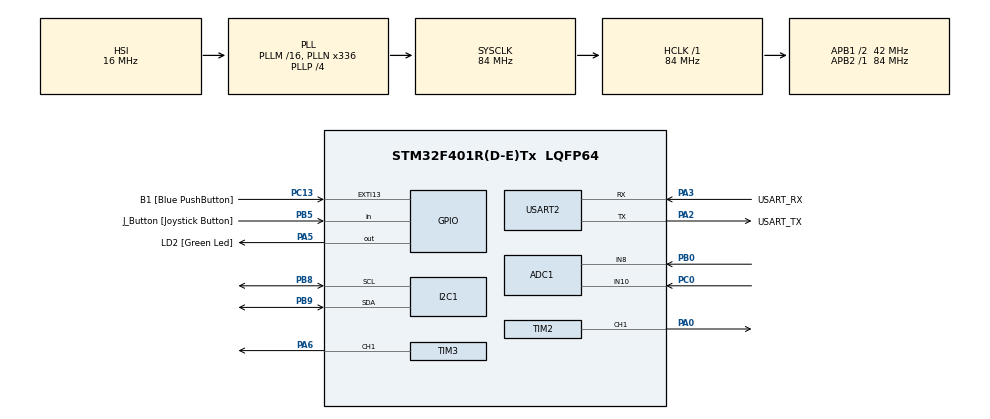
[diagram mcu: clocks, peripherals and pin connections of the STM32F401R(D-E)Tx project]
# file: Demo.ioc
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ADC1.Channel-0\#ChannelRegularConversion=ADC_CHANNEL_8
ADC1.Channel-1\#ChannelRegularConversion=ADC_CHANNEL_10
ADC1.ContinuousConvMode=ENABLE
ADC1.DMAContinuousRequests=ENABLE
ADC1.NbrOfConversion=2
ADC1.NbrOfConversionFlag=1
ADC1.Rank-0\#ChannelRegularConversion=1
ADC1.Rank-1\#ChannelRegularConversion=2
ADC1.SamplingTime-0\#ChannelRegularConversion=ADC_SAMPLETIME_84CYCLES
ADC1.SamplingTime-1\#ChannelRegularConversion=ADC_SAMPLETIME_84CYCLES
ADC1.master=1
Dma.ADC1.0.Direction=DMA_PERIPH_TO_MEMORY
Dma.ADC1.0.FIFOMode=DMA_FIFOMODE_DISABLE
Dma.ADC1.0.Instance=DMA2_Stream0
Dma.ADC1.0.MemDataAlignment=DMA_MDATAALIGN_WORD
Dma.ADC1.0.MemInc=DMA_MINC_ENABLE
Dma.ADC1.0.Mode=DMA_CIRCULAR
Dma.ADC1.0.PeriphDataAlignment=DMA_PDATAALIGN_WORD
Dma.ADC1.0.PeriphInc=DMA_PINC_DISABLE
Dma.ADC1.0.Priority=DMA_PRIORITY_LOW
Dma.Request0=ADC1
Mcu.Family=STM32F4
Mcu.Name=STM32F401R(D-E)Tx
Mcu.Package=LQFP64
NVIC.DMA2_Stream0_IRQn=true\:0\:0\:false\:false\:true\:false\:true\:true
NVIC.PriorityGroup=NVIC_PRIORITYGROUP_0
PA0-WKUP.Signal=S_TIM2_CH1_ETR
PA13.GPIO_Label=TMS
PA13.Mode=Serial_Wire
PA13.Signal=SYS_JTMS-SWDIO
PA14.GPIO_Label=TCK
PA14.Mode=Serial_Wire
PA14.Signal=SYS_JTCK-SWCLK
PA2.GPIO_Label=USART_TX
PA2.GPIO_Mode=GPIO_MODE_AF_PP
PA2.GPIO_PuPd=GPIO_NOPULL
PA2.GPIO_Speed=GPIO_SPEED_FREQ_LOW
PA2.Mode=Asynchronous
PA2.Signal=USART2_TX
PA3.GPIO_Label=USART_RX
PA3.GPIO_Mode=GPIO_MODE_AF_PP
PA3.GPIO_PuPd=GPIO_NOPULL
PA3.GPIO_Speed=GPIO_SPEED_FREQ_LOW
PA3.Mode=Asynchronous
PA3.Signal=USART2_RX
PA5.GPIO_Label=LD2 [Green Led]
PA5.GPIO_Mode=GPIO_MODE_OUTPUT_PP
PA5.GPIO_PuPd=GPIO_NOPULL
PA5.GPIO_Speed=GPIO_SPEED_FREQ_LOW
PA5.Signal=GPIO_Output
PA6.Signal=S_TIM3_CH1
PB0.Signal=ADCx_IN8
PB3.GPIO_Label=SWO
PB3.Signal=SYS_JTDO-SWO
PB5.GPIO_Label=J_Button [Joystick Button]
PB5.Signal=GPIO_Input
PB8.Mode=I2C
PB8.Signal=I2C1_SCL
PB9.Mode=I2C
PB9.Signal=I2C1_SDA
PC0.Signal=ADCx_IN10
PC13-ANTI_TAMP.GPIO_Label=B1 [Blue PushButton]
PC13-ANTI_TAMP.GPIO_ModeDefaultEXTI=GPIO_MODE_IT_FALLING
PC13-ANTI_TAMP.GPIO_PuPd=GPIO_NOPULL
PC13-ANTI_TAMP.Signal=GPXTI13
PC14-OSC32_IN.Mode=LSE-External-Oscillator
PC14-OSC32_IN.Signal=RCC_OSC32_IN
PC15-OSC32_OUT.Mode=LSE-External-Oscillator
PC15-OSC32_OUT.Signal=RCC_OSC32_OUT
PH0\ -\ OSC_IN.Mode=HSE-External-Clock-Source
PH0\ -\ OSC_IN.Signal=RCC_OSC_IN
PH1\ -\ OSC_OUT.Mode=HSE-External-Clock-Source
PH1\ -\ OSC_OUT.Signal=RCC_OSC_OUT
ProjectManager.HeapSize=0x200
ProjectManager.StackSize=0x400
ProjectManager.TargetToolchain=STM32CubeIDE
RCC.48MHZClocksFreq_Value=48000000
RCC.AHBFreq_Value=84000000
RCC.APB1CLKDivider=RCC_HCLK_DIV2
RCC.APB1Freq_Value=42000000
RCC.APB1TimFreq_Value=84000000
RCC.APB2Freq_Value=84000000
RCC.APB2TimFreq_Value=84000000
RCC.CortexFreq_Value=84000000
RCC.HCLKFreq_Value=84000000
RCC.HSE_VALUE=8000000
RCC.HSI_VALUE=16000000
RCC.PLLN=336
RCC.PLLP=RCC_PLLP_DIV4
RCC.PLLQ=7
RCC.SYSCLKFreq_VALUE=84000000
RCC.SYSCLKSource=RCC_SYSCLKSOURCE_PLLCLK
RCC.VCOOutputFreq_Value=336000000
SH.ADCx_IN10.0=ADC1_IN10,IN10
SH.ADCx_IN8.0=ADC1_IN8,IN8
SH.S_TIM2_CH1_ETR.0=TIM2_CH1,PWM Generation1 CH1
SH.S_TIM3_CH1.0=TIM3_CH1,PWM Generation1 CH1
TIM2.Channel-PWM\ Generation1\ CH1=TIM_CHANNEL_1
TIM2.Period=52500-1
TIM2.Prescaler=16-1
TIM3.Channel-PWM\ Generation1\ CH1=TIM_CHANNEL_1
TIM3.Period=13125-1
TIM3.Prescaler=16-1
USART2.VirtualMode=VM_ASYNC
VP_TIM2_VS_ClockSourceINT.Mode=Internal
VP_TIM3_VS_ClockSourceINT.Mode=Internal
board=NUCLEO-F401RE

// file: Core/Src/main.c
/* USER CODE BEGIN Header */
/**
  ******************************************************************************
  * @file           : main.c
  * @brief          : Main program body
  ******************************************************************************
  * @attention
  *
  * Copyright (c) 2023 STMicroelectronics.
  * All rights reserved.
  *
  * This software is licensed under terms that can be found in the LICENSE file
  * in the root directory of this software component.
  * If no LICENSE file comes with this software, it is provided AS-IS.
  *
  ******************************************************************************
  */
/* USER CODE END Header */
#include "main.h"

/* USER CODE BEGIN Includes */

#include "i2c-lcd.h"

/* USER CODE END Includes */

ADC_HandleTypeDef hadc1;
DMA_HandleTypeDef hdma_adc1;

I2C_HandleTypeDef hi2c1;

TIM_HandleTypeDef htim2;
TIM_HandleTypeDef htim3;

UART_HandleTypeDef huart2;

void SystemClock_Config(void);
static void MX_GPIO_Init(void);
static void MX_DMA_Init(void);
static void MX_USART2_UART_Init(void);
static void MX_ADC1_Init(void);
static void MX_TIM2_Init(void);
static void MX_TIM3_Init(void);
static void MX_I2C1_Init(void);

/* USER CODE BEGIN 0 */
int STANDARD_POS = 2625;  // 5*525    = 5%    duty cycle (0 position)
int HALF_POS = 7088;  // 13.5*525 = 13.5% duty cycle (middle position)
int FULL_POS = 11550;    // 22*525   = 22%   duty cycle (max position)

uint32_t JOYSTICK[2];

enum state {
	WAITING,
	DISPENSING,
	REFILLING
};
/* USER CODE END 0 */

int main(void)
{

  /* MCU Configuration--------------------------------------------------------*/

  /* Reset of all peripherals, Initializes the Flash interface and the Systick. */
  HAL_Init();

  /* Configure the system clock */
  SystemClock_Config();

  /* Initialize all configured peripherals */
  MX_GPIO_Init();
  MX_DMA_Init();
  MX_USART2_UART_Init();
  MX_ADC1_Init();
  MX_TIM2_Init();
  MX_TIM3_Init();
  MX_I2C1_Init();
  /* USER CODE BEGIN 2 */

  // Init timers
  HAL_TIM_PWM_Start(&htim2, TIM_CHANNEL_1);  // This is at 100Hz with 52500 counts
  HAL_TIM_PWM_Start(&htim3, TIM_CHANNEL_1);  // This is at 400Hz with 13125 counts

  // Set duty cycles
  __HAL_TIM_SET_COMPARE(&htim2, TIM_CHANNEL_1, STANDARD_POS);
  __HAL_TIM_SET_COMPARE(&htim3, TIM_CHANNEL_1, 0);  // Square wave of 400hz means it's on half the time (6563) and off half the time. Starts off.

  // Init joystick (DMA)
  HAL_ADC_Start_DMA(&hadc1, JOYSTICK, 2);  // Start the multi-channel AC to DC reader

  // Init LCD
  lcd_init();

//  lcd_set_cursor(0, 0);
//  lcd_send_string("Hello World!");
//  int HEART = 0;
//  char heart_char[] = {0x00, 0x00, 0x0A, 0x3F, 0x3F, 0x0E, 0x04, 0x00};
//  lcd_set_custom_char(heart_char, HEART);
//  lcd_set_cursor(0, 13);
//  lcd_send_data(HEART);
//  lcd_send_data(HEART);
//  lcd_send_data(HEART);

  // Init software info
  enum state current_state = WAITING;
//  enum state prev_state = WAITING;
  int no_pills_change = 1;
  int input_pills = 0;
  int time_change = 0;
  int first_dispense = 0;

  uint32_t num_pills = 0;
  uint32_t dispense_freq = 15;
  uint32_t last_dispense = 0;
  uint32_t prev_time_left = dispense_freq - (HAL_GetTick() - last_dispense)/1000;
  char med_info1[] = "Med description";
  char med_info2[] = "Freq: every 15 s";

  /* USER CODE END 2 */

  /* Infinite loop */
  /* USER CODE BEGIN WHILE */
  while (1)
  {
	/*
	 * THE PLAN!
	 * State 1: Waiting (nothing) [use timer -> state 2, or jup/button -> state 3]
	 * State 2: Dispensing (alarm goes off, dispenses pills, displays ) [waits for jup/button to end the alarm -> state 1]
	 * State 3: Adding medication (jleft = -1, jright = +1, jup/button = confirm, jdown = cancel) [-> state 1]
	*/

	if(current_state == WAITING) {
		int time_left = dispense_freq - (HAL_GetTick() - last_dispense)/1000;
		if(time_left != prev_time_left) time_change = 1;

		if(JOYSTICK[1] < 100) {
			no_pills_change = 1;
			current_state = REFILLING;
		}
		else if(num_pills == 0) {
			if(no_pills_change) {
				lcd_clear();
				lcd_set_cursor(0, 0);
				lcd_send_string("Please refill the");
				lcd_set_cursor(1, 0);
				lcd_send_string("machine.");
				lcd_set_cursor(3, 0);
				lcd_send_string("(joystick up)");
				no_pills_change = 0;
			}
		}
		else if(time_left <= 0) {
			first_dispense = 1;
			last_dispense = HAL_GetTick();
			lcd_clear();
			lcd_set_cursor(0, 0);
			lcd_send_string(med_info1);
			lcd_set_cursor(1, 0);
			lcd_send_string(med_info2);
			lcd_set_cursor(2, 0);
			lcd_send_string("(joystick down to");
			lcd_set_cursor(3, 0);
			lcd_send_string("stop alarm)");
			current_state = DISPENSING;
		}
		else {
			if(time_change) {
				lcd_clear();
				lcd_set_cursor(1, 0);
				char string[] = "xxxxxxxxxs remaining";
				string[8] = time_left%10 + 48;
				string[7] = (time_left/10)%10 + 48;
				string[6] = (time_left/100)%10 + 48;
				string[5] = (time_left/1000)%10 + 48;
				string[4] = (time_left/10000)%10 + 48;
				string[3] = (time_left/100000)%10 + 48;
				string[2] = (time_left/1000000)%10 + 48;
				string[1] = (time_left/10000000)%10 + 48;
				string[0] = (time_left/100000000)%10 + 48;
				lcd_send_string(string);
			}
		}
		prev_time_left = time_left;
		HAL_Delay(100);
	}

	else if(current_state == DISPENSING) {
		if(first_dispense) {
			// Motor
			__HAL_TIM_SET_COMPARE(&htim2, TIM_CHANNEL_1, FULL_POS);

			// Alarm
			__HAL_TIM_SET_COMPARE(&htim3, TIM_CHANNEL_1, 6563);

			// Delay to give it time to process the pill dispense
			HAL_Delay(1000);

			__HAL_TIM_SET_COMPARE(&htim2, TIM_CHANNEL_1, STANDARD_POS);
			HAL_Delay(1000);
			num_pills--;
			first_dispense = 0;
		}

		// Joystick off (joystick down)
		if(JOYSTICK[1] > 4000) {
			__HAL_TIM_SET_COMPARE(&htim3, TIM_CHANNEL_1, 0);  // Turn off alarm
			no_pills_change = 1;
			current_state = WAITING;
		}
	}

	else if(current_state == REFILLING) {
		if(no_pills_change) {
			input_pills = 0;
			lcd_clear();
			lcd_set_cursor(0, 0);
			lcd_send_string("   up to confirm    ");
			lcd_set_cursor(3, 0);
			lcd_send_string("   down to cancel   ");
			lcd_set_cursor(1, 0);
			lcd_send_string("-1       00       +1");
			no_pills_change = 0;
		}
		// left
		if(JOYSTICK[0] < 100) {
			if(input_pills > 0) input_pills--;
			lcd_set_cursor(1, 0);
			char string[] = "-1       xx       +1";
			string[10] = input_pills%10 + 48;
			string[9] = (input_pills/10)%10 + 48;
			lcd_send_string(string);
		}
		// right
		else if(JOYSTICK[0] > 4000) {
			if(num_pills + input_pills < 99) input_pills++;
			lcd_set_cursor(1, 0);
			char string[] = "-1       xx       +1";
			string[10] = input_pills%10 + 48;
			string[9] = (input_pills/10)%10 + 48;
			lcd_send_string(string);
		}
		// up
		else if(JOYSTICK[1] < 100) {
			num_pills += input_pills;
			no_pills_change = 1;
			current_state = WAITING;
		}
		// down
		else if(JOYSTICK[1] > 4000) {
			no_pills_change = 1;
			current_state = WAITING;
		}
		HAL_Delay(200);
	}

    /* USER CODE END WHILE */

  }
}

void SystemClock_Config(void)
{
  RCC_OscInitTypeDef RCC_OscInitStruct = {0};
  RCC_ClkInitTypeDef RCC_ClkInitStruct = {0};

  /** Configure the main internal regulator output voltage
  */
  __HAL_RCC_PWR_CLK_ENABLE();
  __HAL_PWR_VOLTAGESCALING_CONFIG(PWR_REGULATOR_VOLTAGE_SCALE2);

  /** Initializes the RCC Oscillators according to the specified parameters
  * in the RCC_OscInitTypeDef structure.
  */
  RCC_OscInitStruct.OscillatorType = RCC_OSCILLATORTYPE_HSI;
  RCC_OscInitStruct.HSIState = RCC_HSI_ON;
  RCC_OscInitStruct.HSICalibrationValue = RCC_HSICALIBRATION_DEFAULT;
  RCC_OscInitStruct.PLL.PLLState = RCC_PLL_ON;
  RCC_OscInitStruct.PLL.PLLSource = RCC_PLLSOURCE_HSI;
  RCC_OscInitStruct.PLL.PLLM = 16;
  RCC_OscInitStruct.PLL.PLLN = 336;
  RCC_OscInitStruct.PLL.PLLP = RCC_PLLP_DIV4;
  RCC_OscInitStruct.PLL.PLLQ = 7;
  if (HAL_RCC_OscConfig(&RCC_OscInitStruct) != HAL_OK)
  {
    Error_Handler();
  }

  /** Initializes the CPU, AHB and APB buses clocks
  */
  RCC_ClkInitStruct.ClockType = RCC_CLOCKTYPE_HCLK|RCC_CLOCKTYPE_SYSCLK
                              |RCC_CLOCKTYPE_PCLK1|RCC_CLOCKTYPE_PCLK2;
  RCC_ClkInitStruct.SYSCLKSource = RCC_SYSCLKSOURCE_PLLCLK;
  RCC_ClkInitStruct.AHBCLKDivider = RCC_SYSCLK_DIV1;
  RCC_ClkInitStruct.APB1CLKDivider = RCC_HCLK_DIV2;
  RCC_ClkInitStruct.APB2CLKDivider = RCC_HCLK_DIV1;

  if (HAL_RCC_ClockConfig(&RCC_ClkInitStruct, FLASH_LATENCY_2) != HAL_OK)
  {
    Error_Handler();
  }
}

static void MX_ADC1_Init(void)
{

  ADC_ChannelConfTypeDef sConfig = {0};

  /** Configure the global features of the ADC (Clock, Resolution, Data Alignment and number of conversion)
  */
  hadc1.Instance = ADC1;
  hadc1.Init.ClockPrescaler = ADC_CLOCK_SYNC_PCLK_DIV4;
  hadc1.Init.Resolution = ADC_RESOLUTION_12B;
  hadc1.Init.ScanConvMode = ENABLE;
  hadc1.Init.ContinuousConvMode = ENABLE;
  hadc1.Init.DiscontinuousConvMode = DISABLE;
  hadc1.Init.ExternalTrigConvEdge = ADC_EXTERNALTRIGCONVEDGE_NONE;
  hadc1.Init.ExternalTrigConv = ADC_SOFTWARE_START;
  hadc1.Init.DataAlign = ADC_DATAALIGN_RIGHT;
  hadc1.Init.NbrOfConversion = 2;
  hadc1.Init.DMAContinuousRequests = ENABLE;
  hadc1.Init.EOCSelection = ADC_EOC_SINGLE_CONV;
  if (HAL_ADC_Init(&hadc1) != HAL_OK)
  {
    Error_Handler();
  }

  /** Configure for the selected ADC regular channel its corresponding rank in the sequencer and its sample time.
  */
  sConfig.Channel = ADC_CHANNEL_8;
  sConfig.Rank = 1;
  sConfig.SamplingTime = ADC_SAMPLETIME_84CYCLES;
  if (HAL_ADC_ConfigChannel(&hadc1, &sConfig) != HAL_OK)
  {
    Error_Handler();
  }

  /** Configure for the selected ADC regular channel its corresponding rank in the sequencer and its sample time.
  */
  sConfig.Channel = ADC_CHANNEL_10;
  sConfig.Rank = 2;
  if (HAL_ADC_ConfigChannel(&hadc1, &sConfig) != HAL_OK)
  {
    Error_Handler();
  }

}

static void MX_I2C1_Init(void)
{

  hi2c1.Instance = I2C1;
  hi2c1.Init.ClockSpeed = 100000;
  hi2c1.Init.DutyCycle = I2C_DUTYCYCLE_2;
  hi2c1.Init.OwnAddress1 = 0;
  hi2c1.Init.AddressingMode = I2C_ADDRESSINGMODE_7BIT;
  hi2c1.Init.DualAddressMode = I2C_DUALADDRESS_DISABLE;
  hi2c1.Init.OwnAddress2 = 0;
  hi2c1.Init.GeneralCallMode = I2C_GENERALCALL_DISABLE;
  hi2c1.Init.NoStretchMode = I2C_NOSTRETCH_DISABLE;
  if (HAL_I2C_Init(&hi2c1) != HAL_OK)
  {
    Error_Handler();
  }

}

static void MX_TIM2_Init(void)
{

  TIM_ClockConfigTypeDef sClockSourceConfig = {0};
  TIM_MasterConfigTypeDef sMasterConfig = {0};
  TIM_OC_InitTypeDef sConfigOC = {0};

  htim2.Instance = TIM2;
  htim2.Init.Prescaler = 16-1;
  htim2.Init.CounterMode = TIM_COUNTERMODE_UP;
  htim2.Init.Period = 52500-1;
  htim2.Init.ClockDivision = TIM_CLOCKDIVISION_DIV1;
  htim2.Init.AutoReloadPreload = TIM_AUTORELOAD_PRELOAD_DISABLE;
  if (HAL_TIM_Base_Init(&htim2) != HAL_OK)
  {
    Error_Handler();
  }
  sClockSourceConfig.ClockSource = TIM_CLOCKSOURCE_INTERNAL;
  if (HAL_TIM_ConfigClockSource(&htim2, &sClockSourceConfig) != HAL_OK)
  {
    Error_Handler();
  }
  if (HAL_TIM_PWM_Init(&htim2) != HAL_OK)
  {
    Error_Handler();
  }
  sMasterConfig.MasterOutputTrigger = TIM_TRGO_RESET;
  sMasterConfig.MasterSlaveMode = TIM_MASTERSLAVEMODE_DISABLE;
  if (HAL_TIMEx_MasterConfigSynchronization(&htim2, &sMasterConfig) != HAL_OK)
  {
    Error_Handler();
  }
  sConfigOC.OCMode = TIM_OCMODE_PWM1;
  sConfigOC.Pulse = 0;
  sConfigOC.OCPolarity = TIM_OCPOLARITY_HIGH;
  sConfigOC.OCFastMode = TIM_OCFAST_DISABLE;
  if (HAL_TIM_PWM_ConfigChannel(&htim2, &sConfigOC, TIM_CHANNEL_1) != HAL_OK)
  {
    Error_Handler();
  }
  HAL_TIM_MspPostInit(&htim2);

}

static void MX_TIM3_Init(void)
{

  TIM_ClockConfigTypeDef sClockSourceConfig = {0};
  TIM_MasterConfigTypeDef sMasterConfig = {0};
  TIM_OC_InitTypeDef sConfigOC = {0};

  htim3.Instance = TIM3;
  htim3.Init.Prescaler = 16-1;
  htim3.Init.CounterMode = TIM_COUNTERMODE_UP;
  htim3.Init.Period = 13125-1;
  htim3.Init.ClockDivision = TIM_CLOCKDIVISION_DIV1;
  htim3.Init.AutoReloadPreload = TIM_AUTORELOAD_PRELOAD_DISABLE;
  if (HAL_TIM_Base_Init(&htim3) != HAL_OK)
  {
    Error_Handler();
  }
  sClockSourceConfig.ClockSource = TIM_CLOCKSOURCE_INTERNAL;
  if (HAL_TIM_ConfigClockSource(&htim3, &sClockSourceConfig) != HAL_OK)
  {
    Error_Handler();
  }
  if (HAL_TIM_PWM_Init(&htim3) != HAL_OK)
  {
    Error_Handler();
  }
  sMasterConfig.MasterOutputTrigger = TIM_TRGO_RESET;
  sMasterConfig.MasterSlaveMode = TIM_MASTERSLAVEMODE_DISABLE;
  if (HAL_TIMEx_MasterConfigSynchronization(&htim3, &sMasterConfig) != HAL_OK)
  {
    Error_Handler();
  }
  sConfigOC.OCMode = TIM_OCMODE_PWM1;
  sConfigOC.Pulse = 0;
  sConfigOC.OCPolarity = TIM_OCPOLARITY_HIGH;
  sConfigOC.OCFastMode = TIM_OCFAST_DISABLE;
  if (HAL_TIM_PWM_ConfigChannel(&htim3, &sConfigOC, TIM_CHANNEL_1) != HAL_OK)
  {
    Error_Handler();
  }
  HAL_TIM_MspPostInit(&htim3);

}

static void MX_USART2_UART_Init(void)
{

  huart2.Instance = USART2;
  huart2.Init.BaudRate = 115200;
  huart2.Init.WordLength = UART_WORDLENGTH_8B;
  huart2.Init.StopBits = UART_STOPBITS_1;
  huart2.Init.Parity = UART_PARITY_NONE;
  huart2.Init.Mode = UART_MODE_TX_RX;
  huart2.Init.HwFlowCtl = UART_HWCONTROL_NONE;
  huart2.Init.OverSampling = UART_OVERSAMPLING_16;
  if (HAL_UART_Init(&huart2) != HAL_OK)
  {
    Error_Handler();
  }

}

static void MX_DMA_Init(void)
{

  /* DMA controller clock enable */
  __HAL_RCC_DMA2_CLK_ENABLE();

  /* DMA interrupt init */
  /* DMA2_Stream0_IRQn interrupt configuration */
  HAL_NVIC_SetPriority(DMA2_Stream0_IRQn, 0, 0);
  HAL_NVIC_EnableIRQ(DMA2_Stream0_IRQn);

}

static void MX_GPIO_Init(void)
{
  GPIO_InitTypeDef GPIO_InitStruct = {0};

  /* GPIO Ports Clock Enable */
  __HAL_RCC_GPIOC_CLK_ENABLE();
  __HAL_RCC_GPIOH_CLK_ENABLE();
  __HAL_RCC_GPIOA_CLK_ENABLE();
  __HAL_RCC_GPIOB_CLK_ENABLE();

  /*Configure GPIO pin Output Level */
  HAL_GPIO_WritePin(LD2_GPIO_Port, LD2_Pin, GPIO_PIN_RESET);

  /*Configure GPIO pin : B1_Pin */
  GPIO_InitStruct.Pin = B1_Pin;
  GPIO_InitStruct.Mode = GPIO_MODE_IT_FALLING;
  GPIO_InitStruct.Pull = GPIO_NOPULL;
  HAL_GPIO_Init(B1_GPIO_Port, &GPIO_InitStruct);

  /*Configure GPIO pin : LD2_Pin */
  GPIO_InitStruct.Pin = LD2_Pin;
  GPIO_InitStruct.Mode = GPIO_MODE_OUTPUT_PP;
  GPIO_InitStruct.Pull = GPIO_NOPULL;
  GPIO_InitStruct.Speed = GPIO_SPEED_FREQ_LOW;
  HAL_GPIO_Init(LD2_GPIO_Port, &GPIO_InitStruct);

  /*Configure GPIO pin : J_Button_Pin */
  GPIO_InitStruct.Pin = J_Button_Pin;
  GPIO_InitStruct.Mode = GPIO_MODE_INPUT;
  GPIO_InitStruct.Pull = GPIO_NOPULL;
  HAL_GPIO_Init(J_Button_GPIO_Port, &GPIO_InitStruct);

}

void Error_Handler(void)
{
  __disable_irq();
  while (1)
  {
  }
}
